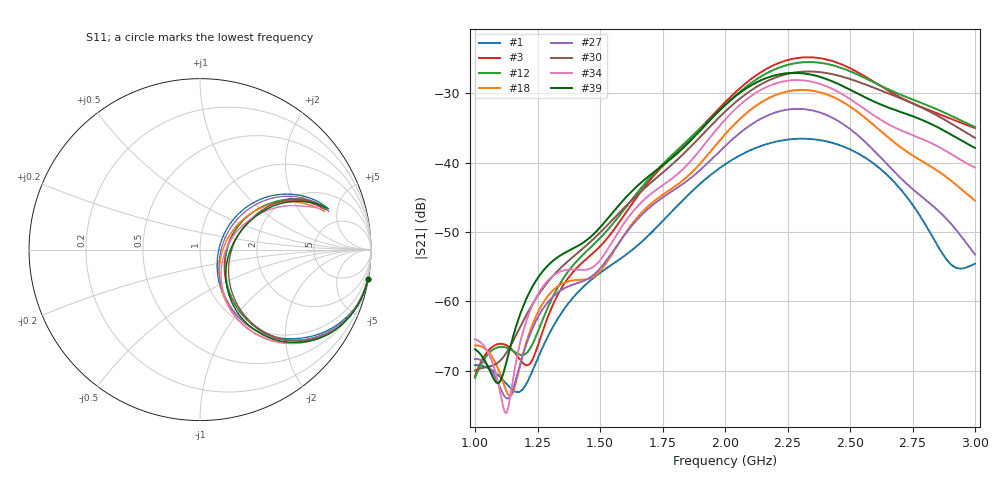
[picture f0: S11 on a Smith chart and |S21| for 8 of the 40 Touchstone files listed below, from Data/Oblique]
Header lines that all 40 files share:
! TOUCHSTONE file generated by CST MICROWAVE STUDIO
! Project name: oblique.cst
! Header version: 2024
! Port assignment regex: !\s*Touchstone port\s*([0-9]+)\s*=\s*(CST MWS port|CST DES external port|CST DES block port)\s*(.+)\s* \(\"(.*)\"\)(\s*mode\s*([0-9]+))?.*
! Touchstone port assignment:
! Touchstone port 1 = CST MWS port 1 ("")
! Touchstone port 2 = CST MWS port 2 ("")
# GHz S DB R 50
Fixed: Tilt = 40, Fracture = 1, D = 160, Feed = 2.85625, L = 100, R = 0.384908, length = 57.125, wave = 114.25
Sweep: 1 GHz to 3 GHz
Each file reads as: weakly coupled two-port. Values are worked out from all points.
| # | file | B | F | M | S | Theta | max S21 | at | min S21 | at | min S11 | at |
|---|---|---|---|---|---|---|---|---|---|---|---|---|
| 1 | oblique_161.s2p | 10 | 25 | 50 | 2 | 180 | -36.54 dB | 2.308 GHz | -73.1 dB | 1.167 GHz | -19.3 dB | 2.384 GHz |
| 2 | oblique_162.s2p | 10 | 25 | 50 | 2 | 270 | -36.54 dB | 2.308 GHz | -72.6 dB | 1.167 GHz | -19.3 dB | 2.384 GHz |
| 3 | oblique_163.s2p | 12.5 | 5 | 10 | 1 | 90 | -24.81 dB | 2.329 GHz | -70.8 dB | 1 GHz | -16.4 dB | 2.375 GHz |
| 4 | oblique_164.s2p | 12.5 | 5 | 10 | 1 | 180 | -24.81 dB | 2.329 GHz | -70.8 dB | 1 GHz | -16.4 dB | 2.375 GHz |
| 5 | oblique_165.s2p | 12.5 | 5 | 10 | 1 | 270 | -24.81 dB | 2.329 GHz | -70.8 dB | 1 GHz | -16.4 dB | 2.375 GHz |
| 6 | oblique_166.s2p | 12.5 | 5 | 30 | 1 | 90 | -26.49 dB | 2.314 GHz | -70.6 dB | 1.125 GHz | -15.6 dB | 2.353 GHz |
| 7 | oblique_167.s2p | 12.5 | 5 | 30 | 1 | 180 | -26.49 dB | 2.314 GHz | -70.6 dB | 1.125 GHz | -15.6 dB | 2.353 GHz |
| 8 | oblique_168.s2p | 12.5 | 5 | 30 | 1 | 270 | -26.49 dB | 2.314 GHz | -70.6 dB | 1.125 GHz | -15.6 dB | 2.353 GHz |
| 9 | oblique_169.s2p | 12.5 | 5 | 50 | 1 | 90 | -29.87 dB | 2.307 GHz | -73.0 dB | 1.139 GHz | -16.6 dB | 2.347 GHz |
| 10 | oblique_170.s2p | 12.5 | 5 | 50 | 1 | 180 | -29.87 dB | 2.307 GHz | -73.0 dB | 1.139 GHz | -16.6 dB | 2.347 GHz |
| 11 | oblique_171.s2p | 12.5 | 5 | 50 | 1 | 270 | -29.87 dB | 2.307 GHz | -73.0 dB | 1.139 GHz | -16.6 dB | 2.347 GHz |
| 12 | oblique_172.s2p | 12.5 | 5 | 10 | 2 | 90 | -25.50 dB | 2.336 GHz | -71.0 dB | 1 GHz | -16.1 dB | 2.368 GHz |
| 13 | oblique_173.s2p | 12.5 | 5 | 10 | 2 | 180 | -25.50 dB | 2.336 GHz | -71.0 dB | 1 GHz | -16.1 dB | 2.368 GHz |
| 14 | oblique_174.s2p | 12.5 | 5 | 10 | 2 | 270 | -25.50 dB | 2.336 GHz | -71.0 dB | 1 GHz | -16.1 dB | 2.368 GHz |
| 15 | oblique_175.s2p | 12.5 | 5 | 30 | 2 | 90 | -26.56 dB | 2.314 GHz | -71.6 dB | 1.119 GHz | -15.5 dB | 2.353 GHz |
| 16 | oblique_176.s2p | 12.5 | 5 | 30 | 2 | 180 | -26.56 dB | 2.314 GHz | -71.6 dB | 1.119 GHz | -15.5 dB | 2.353 GHz |
| 17 | oblique_177.s2p | 12.5 | 5 | 30 | 2 | 270 | -26.56 dB | 2.314 GHz | -71.6 dB | 1.119 GHz | -15.5 dB | 2.353 GHz |
| 18 | oblique_178.s2p | 12.5 | 5 | 50 | 2 | 90 | -29.51 dB | 2.307 GHz | -73.6 dB | 1.139 GHz | -17.8 dB | 2.353 GHz |
| 19 | oblique_179.s2p | 12.5 | 5 | 50 | 2 | 180 | -29.51 dB | 2.307 GHz | -73.6 dB | 1.139 GHz | -17.8 dB | 2.353 GHz |
| 20 | oblique_180.s2p | 12.5 | 5 | 50 | 2 | 270 | -29.51 dB | 2.307 GHz | -73.6 dB | 1.139 GHz | -17.8 dB | 2.353 GHz |
| 21 | oblique_181.s2p | 12.5 | 15 | 10 | 1 | 90 | -24.80 dB | 2.314 GHz | -72.0 dB | 1.112 GHz | -15.4 dB | 2.36 GHz |
| 22 | oblique_182.s2p | 12.5 | 15 | 10 | 1 | 180 | -24.80 dB | 2.314 GHz | -72.0 dB | 1.112 GHz | -15.4 dB | 2.36 GHz |
| 23 | oblique_183.s2p | 12.5 | 15 | 10 | 1 | 270 | -24.80 dB | 2.314 GHz | -72.0 dB | 1.112 GHz | -15.4 dB | 2.36 GHz |
| 24 | oblique_184.s2p | 12.5 | 15 | 30 | 1 | 90 | -26.61 dB | 2.294 GHz | -77.1 dB | 1.125 GHz | -17.0 dB | 2.353 GHz |
| 25 | oblique_185.s2p | 12.5 | 15 | 30 | 1 | 180 | -26.61 dB | 2.294 GHz | -77.1 dB | 1.125 GHz | -17.0 dB | 2.353 GHz |
| 26 | oblique_186.s2p | 12.5 | 15 | 30 | 1 | 270 | -26.61 dB | 2.294 GHz | -77.1 dB | 1.125 GHz | -17.0 dB | 2.353 GHz |
| 27 | oblique_187.s2p | 12.5 | 15 | 50 | 1 | 90 | -32.25 dB | 2.287 GHz | -74.0 dB | 1.132 GHz | -18.4 dB | 2.366 GHz |
| 28 | oblique_188.s2p | 12.5 | 15 | 50 | 1 | 180 | -32.25 dB | 2.294 GHz | -74.0 dB | 1.132 GHz | -18.4 dB | 2.366 GHz |
| 29 | oblique_189.s2p | 12.5 | 15 | 50 | 1 | 270 | -32.25 dB | 2.287 GHz | -74.0 dB | 1.132 GHz | -18.4 dB | 2.366 GHz |
| 30 | oblique_190.s2p | 12.5 | 15 | 10 | 2 | 90 | -26.86 dB | 2.333 GHz | -70.0 dB | 1 GHz | -14.9 dB | 2.366 GHz |
| 31 | oblique_191.s2p | 12.5 | 15 | 10 | 2 | 180 | -26.86 dB | 2.333 GHz | -69.9 dB | 1 GHz | -14.9 dB | 2.366 GHz |
| 32 | oblique_192.s2p | 12.5 | 15 | 10 | 2 | 270 | -26.86 dB | 2.333 GHz | -70.0 dB | 1 GHz | -14.9 dB | 2.366 GHz |
| 33 | oblique_193.s2p | 12.5 | 15 | 30 | 2 | 90 | -28.10 dB | 2.287 GHz | -75.7 dB | 1.125 GHz | -16.9 dB | 2.34 GHz |
| 34 | oblique_194.s2p | 12.5 | 15 | 30 | 2 | 180 | -28.10 dB | 2.285 GHz | -76.1 dB | 1.126 GHz | -16.9 dB | 2.344 GHz |
| 35 | oblique_195.s2p | 12.5 | 15 | 30 | 2 | 270 | -28.10 dB | 2.285 GHz | -76.3 dB | 1.126 GHz | -16.9 dB | 2.344 GHz |
| 36 | oblique_196.s2p | 12.5 | 15 | 50 | 2 | 90 | -32.26 dB | 2.309 GHz | -71.5 dB | 1.132 GHz | -20.5 dB | 2.368 GHz |
| 37 | oblique_197.s2p | 12.5 | 15 | 50 | 2 | 180 | -32.26 dB | 2.309 GHz | -71.5 dB | 1.132 GHz | -20.5 dB | 2.368 GHz |
| 38 | oblique_198.s2p | 12.5 | 15 | 50 | 2 | 270 | -32.26 dB | 2.309 GHz | -71.5 dB | 1.132 GHz | -20.5 dB | 2.368 GHz |
| 39 | oblique_199.s2p | 12.5 | 25 | 10 | 1 | 90 | -27.06 dB | 2.278 GHz | -71.8 dB | 1.093 GHz | -15.4 dB | 2.338 GHz |
| 40 | oblique_200.s2p | 12.5 | 25 | 10 | 1 | 180 | -27.06 dB | 2.278 GHz | -71.8 dB | 1.093 GHz | -15.4 dB | 2.338 GHz |
